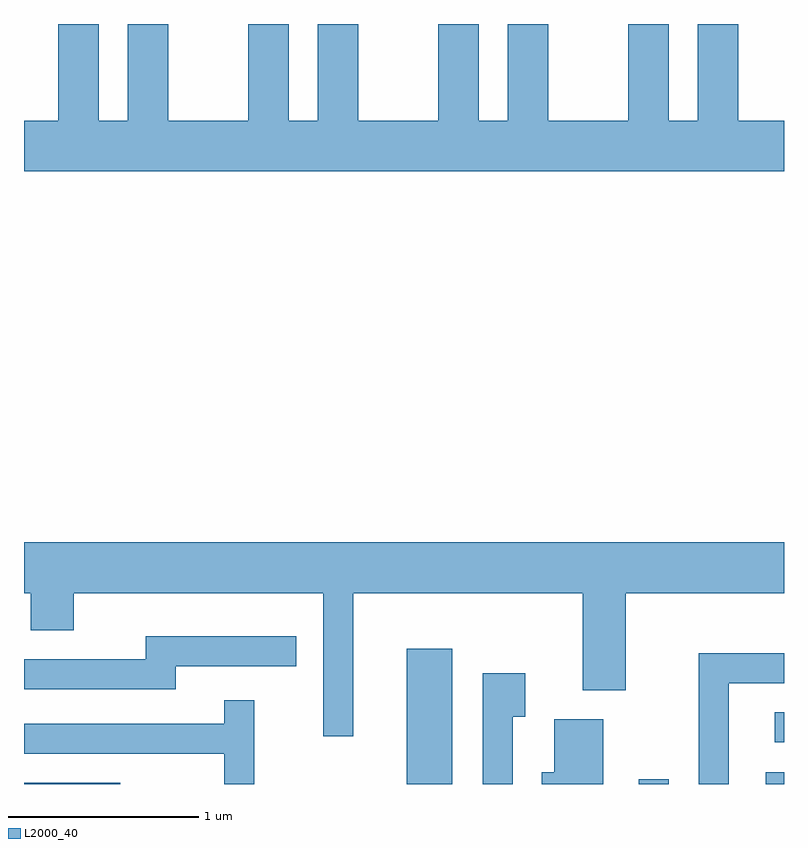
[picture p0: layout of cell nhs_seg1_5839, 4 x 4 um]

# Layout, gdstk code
import gdstk
lib = gdstk.Library(unit=1e-6, precision=1e-09)
def R(c, l, rs):  # rectangles x0, y0, x1, y1
    for r in rs: c.add(gdstk.rectangle(r[:2], r[2:], *l))
def P(c, l, *ps):  # polygons
    for p in ps: c.add(gdstk.Polygon(p, *l))
L2000_40 = (2000, 40)

nhs_seg1_5839 = lib.new_cell('nhs_seg1_5839')
R(nhs_seg1_5839, L2000_40, [(361.611,869.712,362.118,869.719), (363.626,869.712,363.864,870.424), (364.846,869.712,365.004,869.738), (365.516,869.712,365.611,869.774), (365.563,869.931,365.611,870.089)])
P(nhs_seg1_5839, L2000_40, [(363.156,873.712),(363.156,873.204),(363.004,873.204),(363.004,873.712),(362.791,873.712),(362.791,873.204),(362.369,873.204),(362.369,873.712),(362.156,873.712),(362.156,873.204),(362.004,873.204),(362.004,873.712),(361.791,873.712),(361.791,873.204),(361.611,873.204),(361.611,872.936),(365.611,872.936),(365.611,873.204),(365.369,873.204),(365.369,873.712),(365.156,873.712),(365.156,873.204),(365.004,873.204),(365.004,873.712),(364.791,873.712),(364.791,873.204),(364.369,873.204),(364.369,873.712),(364.156,873.712),(364.156,873.204),(364.004,873.204),(364.004,873.712),(363.791,873.712),(363.791,873.204),(363.369,873.204),(363.369,873.712)],
  [(363.344,870.716),(364.551,870.716),(364.551,870.206),(364.779,870.206),(364.779,870.716),(365.611,870.716),(365.611,870.984),(361.611,870.984),(361.611,870.716),(361.646,870.716),(361.646,870.521),(361.874,870.521),(361.874,870.716),(363.186,870.716),(363.186,869.963),(363.344,869.963)],
  [(362.409,870.331),(363.043,870.331),(363.043,870.489),(362.251,870.489),(362.251,870.369),(361.611,870.369),(361.611,870.211),(362.409,870.211)],
  [(365.319,870.241),(365.611,870.241),(365.611,870.399),(365.161,870.399),(365.161,869.712),(365.319,869.712)],
  [(364.184,870.066),(364.249,870.066),(364.249,870.294),(364.026,870.294),(364.026,869.712),(364.184,869.712)],
  [(362.824,870.153),(362.666,870.153),(362.666,870.029),(361.611,870.029),(361.611,869.871),(362.666,869.871),(362.666,869.712),(362.824,869.712)],
  [(364.659,870.054),(364.401,870.054),(364.401,869.774),(364.336,869.774),(364.336,869.712),(364.659,869.712)])

lib.write_gds('nhs_seg1_5839.gds')
